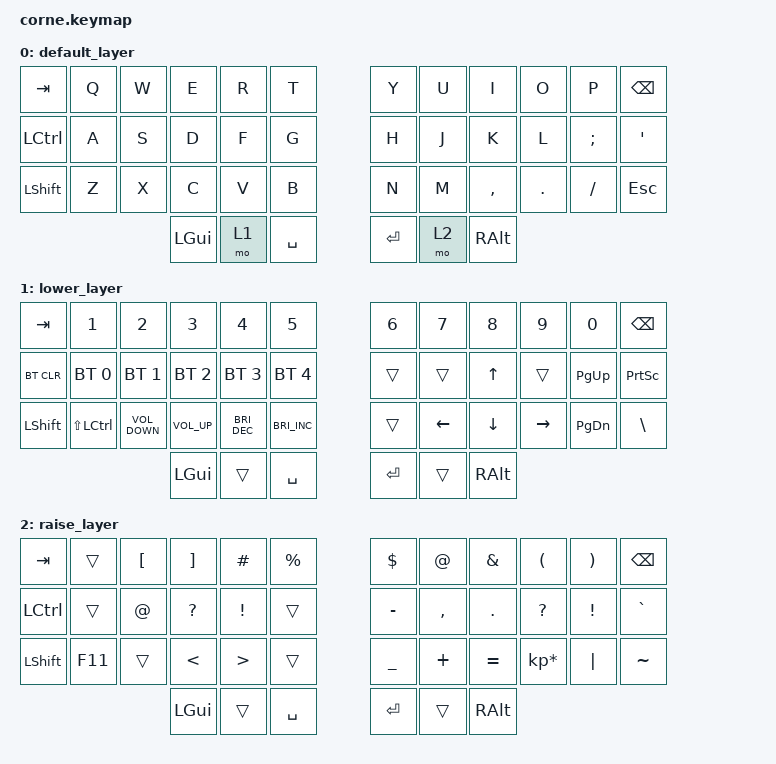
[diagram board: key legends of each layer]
/*
 * Copyright (c) 2020 The ZMK Contributors
 *
 * SPDX-License-Identifier: MIT
 */

#include <behaviors.dtsi>
#include <dt-bindings/zmk/bt.h>
#include <dt-bindings/zmk/keys.h>

/ {
    combos {
        compatible = "zmk,combos";

        delete {
            bindings = <&kp DELETE>;
            key-positions = <10 11>;
        };

        lalt {
            bindings = <&kp LEFT_ALT>;
            key-positions = <16 15>;
        };
    };

    keymap {
        compatible = "zmk,keymap";

        default_layer {
            // -----------------------------------------------------------------------------------------
            // |  TAB |  Q  |  W  |  E  |  R  |  T  |   |  Y  |  U   |  I  |  O  |  P  | BKSP |
            // | CTRL |  A  |  S  |  D  |  F  |  G  |   |  H  |  J   |  K  |  L  |  ;  |  '   |
            // | SHFT |  Z  |  X  |  C  |  V  |  B  |   |  N  |  M   |  ,  |  .  |  /  | ESC  |
            //                    | GUI | LWR | SPC |   | ENT | RSE  | ALT |

            bindings = <
&kp TAB    &kp Q  &kp W  &kp E     &kp R  &kp T        &kp Y    &kp U  &kp I      &kp O    &kp P     &kp BSPC
&kp LCTRL  &kp A  &kp S  &kp D     &kp F  &kp G        &kp H    &kp J  &kp K      &kp L    &kp SEMI  &kp SQT
&kp LSHFT  &kp Z  &kp X  &kp C     &kp V  &kp B        &kp N    &kp M  &kp COMMA  &kp DOT  &kp FSLH  &kp ESC
                         &kp LGUI  &mo 1  &kp SPACE    &kp RET  &mo 2  &kp RALT
            >;
        };

        lower_layer {
            // -----------------------------------------------------------------------------------------
            // |  TAB |  1  |  2  |  3  |  4  |  5  |   |  6  |  7  |  8  |  9  |  0  | BKSP |
            // | BTCLR| BT1 | BT2 | BT3 | BT4 | BT5 |   | LFT | DWN |  UP | RGT |     |      |
            // | SHFT |     |     |     |     |     |   |     |     |     |     |     |      |
            //                    | GUI |     | SPC |   | ENT |     | ALT |

            bindings = <
&kp TAB     &kp N1                &kp N2             &kp N3           &kp N4                &kp N5                  &kp N6   &kp N7          &kp N8    &kp N9     &kp N0         &kp BSPC
&bt BT_CLR  &bt BT_SEL 0          &bt BT_SEL 1       &bt BT_SEL 2     &bt BT_SEL 3          &bt BT_SEL 4            &trans   &trans          &kp UP    &trans     &kp PAGE_UP    &kp PRINTSCREEN
&kp LSHFT   &kp LS(LEFT_CONTROL)  &kp C_VOLUME_DOWN  &kp C_VOLUME_UP  &kp C_BRIGHTNESS_DEC  &kp C_BRIGHTNESS_INC    &trans   &kp LEFT_ARROW  &kp DOWN  &kp RIGHT  &kp PAGE_DOWN  &kp BACKSLASH
                                                     &kp LGUI         &trans                &kp SPACE               &kp RET  &trans          &kp RALT
            >;
        };

        raise_layer {
            // -----------------------------------------------------------------------------------------
            // |  TAB |  !  |  @  |  #  |  $  |  %  |   |  ^  |  &  |  *  |  (  |  )  | BKSP |
            // | CTRL |     |     |     |     |     |   |  -  |  =  |  [  |  ]  |  \  |  `   |
            // | SHFT |     |     |     |     |     |   |  _  |  +  |  {  |  }  | "|" |  ~   |
            //                    | GUI |     | SPC |   | ENT |     | ALT |

            bindings = <
&kp TAB    &trans   &kp LEFT_BRACKET  &kp RIGHT_BRACKET  &kp HASH          &kp PERCENT    &kp DOLLAR  &kp AT     &kp AMPERSAND  &kp LPAR         &kp RPAR         &kp BSPC
&kp LCTRL  &trans   &kp AT            &kp QUESTION       &kp EXCL          &trans         &kp MINUS   &kp COMMA  &kp PERIOD     &kp QUESTION     &kp EXCLAMATION  &kp GRAVE
&kp LSHFT  &kp F11  &trans            &kp LESS_THAN      &kp GREATER_THAN  &trans         &kp UNDER   &kp PLUS   &kp EQUAL      &kp KP_MULTIPLY  &kp PIPE         &kp TILDE
                                      &kp LGUI           &trans            &kp SPACE      &kp RET     &trans     &kp RALT
            >;
        };
    };
};
